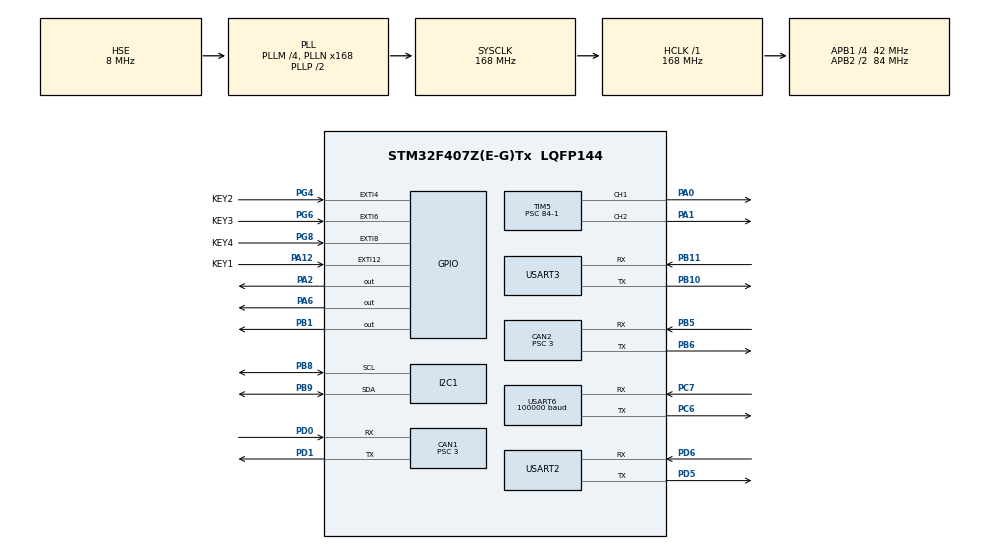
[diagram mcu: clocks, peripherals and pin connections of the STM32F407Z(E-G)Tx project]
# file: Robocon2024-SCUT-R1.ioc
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CAN1.BS1=CAN_BS1_9TQ
CAN1.BS2=CAN_BS2_4TQ
CAN1.CalculateBaudRate=1000000
CAN1.CalculateTimeBit=1000
CAN1.CalculateTimeQuantum=71.42857142857143
CAN1.Prescaler=3
CAN2.BS1=CAN_BS1_9TQ
CAN2.BS2=CAN_BS2_4TQ
CAN2.CalculateBaudRate=1000000
CAN2.CalculateTimeBit=1000
CAN2.CalculateTimeQuantum=71.42857142857143
CAN2.Prescaler=3
Dma.I2C1_RX.4.Direction=DMA_PERIPH_TO_MEMORY
Dma.I2C1_RX.4.FIFOMode=DMA_FIFOMODE_DISABLE
Dma.I2C1_RX.4.Instance=DMA1_Stream0
Dma.I2C1_RX.4.MemDataAlignment=DMA_MDATAALIGN_BYTE
Dma.I2C1_RX.4.MemInc=DMA_MINC_ENABLE
Dma.I2C1_RX.4.Mode=DMA_NORMAL
Dma.I2C1_RX.4.PeriphDataAlignment=DMA_PDATAALIGN_BYTE
Dma.I2C1_RX.4.PeriphInc=DMA_PINC_DISABLE
Dma.I2C1_RX.4.Priority=DMA_PRIORITY_LOW
Dma.I2C1_TX.5.Direction=DMA_MEMORY_TO_PERIPH
Dma.I2C1_TX.5.FIFOMode=DMA_FIFOMODE_DISABLE
Dma.I2C1_TX.5.Instance=DMA1_Stream7
Dma.I2C1_TX.5.MemDataAlignment=DMA_MDATAALIGN_BYTE
Dma.I2C1_TX.5.MemInc=DMA_MINC_ENABLE
Dma.I2C1_TX.5.Mode=DMA_NORMAL
Dma.I2C1_TX.5.PeriphDataAlignment=DMA_PDATAALIGN_BYTE
Dma.I2C1_TX.5.PeriphInc=DMA_PINC_DISABLE
Dma.I2C1_TX.5.Priority=DMA_PRIORITY_LOW
Dma.Request0=USART3_RX
Dma.Request1=USART3_TX
Dma.Request2=USART2_RX
Dma.Request3=USART2_TX
Dma.Request4=I2C1_RX
Dma.Request5=I2C1_TX
Dma.Request6=USART6_RX
Dma.Request7=USART6_TX
Dma.USART2_RX.2.Direction=DMA_PERIPH_TO_MEMORY
Dma.USART2_RX.2.FIFOMode=DMA_FIFOMODE_DISABLE
Dma.USART2_RX.2.Instance=DMA1_Stream5
Dma.USART2_RX.2.MemDataAlignment=DMA_MDATAALIGN_BYTE
Dma.USART2_RX.2.MemInc=DMA_MINC_ENABLE
Dma.USART2_RX.2.Mode=DMA_NORMAL
Dma.USART2_RX.2.PeriphDataAlignment=DMA_PDATAALIGN_BYTE
Dma.USART2_RX.2.PeriphInc=DMA_PINC_DISABLE
Dma.USART2_RX.2.Priority=DMA_PRIORITY_LOW
Dma.USART2_TX.3.Direction=DMA_MEMORY_TO_PERIPH
Dma.USART2_TX.3.FIFOMode=DMA_FIFOMODE_DISABLE
Dma.USART2_TX.3.Instance=DMA1_Stream6
Dma.USART2_TX.3.MemDataAlignment=DMA_MDATAALIGN_BYTE
Dma.USART2_TX.3.MemInc=DMA_MINC_ENABLE
Dma.USART2_TX.3.Mode=DMA_NORMAL
Dma.USART2_TX.3.PeriphDataAlignment=DMA_PDATAALIGN_BYTE
Dma.USART2_TX.3.PeriphInc=DMA_PINC_DISABLE
Dma.USART2_TX.3.Priority=DMA_PRIORITY_LOW
Dma.USART3_RX.0.Direction=DMA_PERIPH_TO_MEMORY
Dma.USART3_RX.0.FIFOMode=DMA_FIFOMODE_DISABLE
Dma.USART3_RX.0.Instance=DMA1_Stream1
Dma.USART3_RX.0.MemDataAlignment=DMA_MDATAALIGN_BYTE
Dma.USART3_RX.0.MemInc=DMA_MINC_ENABLE
Dma.USART3_RX.0.Mode=DMA_NORMAL
Dma.USART3_RX.0.PeriphDataAlignment=DMA_PDATAALIGN_BYTE
Dma.USART3_RX.0.PeriphInc=DMA_PINC_DISABLE
Dma.USART3_RX.0.Priority=DMA_PRIORITY_LOW
Dma.USART3_TX.1.Direction=DMA_MEMORY_TO_PERIPH
Dma.USART3_TX.1.FIFOMode=DMA_FIFOMODE_DISABLE
Dma.USART3_TX.1.Instance=DMA1_Stream3
Dma.USART3_TX.1.MemDataAlignment=DMA_MDATAALIGN_BYTE
Dma.USART3_TX.1.MemInc=DMA_MINC_ENABLE
Dma.USART3_TX.1.Mode=DMA_NORMAL
Dma.USART3_TX.1.PeriphDataAlignment=DMA_PDATAALIGN_BYTE
Dma.USART3_TX.1.PeriphInc=DMA_PINC_DISABLE
Dma.USART3_TX.1.Priority=DMA_PRIORITY_LOW
Dma.USART6_RX.6.Direction=DMA_PERIPH_TO_MEMORY
Dma.USART6_RX.6.FIFOMode=DMA_FIFOMODE_DISABLE
Dma.USART6_RX.6.Instance=DMA2_Stream1
Dma.USART6_RX.6.MemDataAlignment=DMA_MDATAALIGN_BYTE
Dma.USART6_RX.6.MemInc=DMA_MINC_ENABLE
Dma.USART6_RX.6.Mode=DMA_NORMAL
Dma.USART6_RX.6.PeriphDataAlignment=DMA_PDATAALIGN_BYTE
Dma.USART6_RX.6.PeriphInc=DMA_PINC_DISABLE
Dma.USART6_RX.6.Priority=DMA_PRIORITY_LOW
Dma.USART6_TX.7.Direction=DMA_MEMORY_TO_PERIPH
Dma.USART6_TX.7.FIFOMode=DMA_FIFOMODE_DISABLE
Dma.USART6_TX.7.Instance=DMA2_Stream6
Dma.USART6_TX.7.MemDataAlignment=DMA_MDATAALIGN_BYTE
Dma.USART6_TX.7.MemInc=DMA_MINC_ENABLE
Dma.USART6_TX.7.Mode=DMA_NORMAL
Dma.USART6_TX.7.PeriphDataAlignment=DMA_PDATAALIGN_BYTE
Dma.USART6_TX.7.PeriphInc=DMA_PINC_DISABLE
Dma.USART6_TX.7.Priority=DMA_PRIORITY_LOW
FREERTOS.Tasks01=chassisTask,24,128,StartChassisTask,Default,NULL,Dynamic,NULL,NULL;ballTask,8,128,StartBallTask,Default,NULL,Dynamic,NULL,NULL;clampTask,8,128,StartClampTask,Default,NULL,Dynamic,NULL,NULL;upperFeedbackTa,8,128,StartUpperFeedbackTask,Default,NULL,Dynamic,NULL,NULL;SBUSTask,8,128,StartSBUSTask,Default,NULL,Dynamic,NULL,NULL
I2C1.AddressingMode=I2C_ADDRESSINGMODE_10BIT
I2C1.DutyCycle=I2C_DUTYCYCLE_16_9
I2C1.I2C_Mode=I2C_Fast
IWDG.Prescaler=IWDG_PRESCALER_64
IWDG.Reload=625
Mcu.Family=STM32F4
Mcu.Name=STM32F407Z(E-G)Tx
Mcu.Package=LQFP144
NVIC.CAN1_RX0_IRQn=true\:5\:0\:true\:false\:true\:true\:true\:true\:true
NVIC.CAN1_TX_IRQn=true\:5\:0\:true\:false\:true\:true\:true\:true\:true
NVIC.CAN2_RX0_IRQn=true\:5\:0\:false\:false\:true\:true\:true\:true\:true
NVIC.CAN2_TX_IRQn=true\:5\:0\:false\:false\:true\:true\:true\:true\:true
NVIC.DMA1_Stream0_IRQn=true\:5\:0\:false\:false\:true\:true\:false\:true\:true
NVIC.DMA1_Stream1_IRQn=true\:5\:0\:false\:false\:true\:true\:false\:true\:true
NVIC.DMA1_Stream3_IRQn=true\:5\:0\:false\:false\:true\:true\:false\:true\:true
NVIC.DMA1_Stream5_IRQn=true\:5\:0\:false\:false\:true\:true\:false\:true\:true
NVIC.DMA1_Stream6_IRQn=true\:5\:0\:false\:false\:true\:true\:false\:true\:true
NVIC.DMA1_Stream7_IRQn=true\:5\:0\:false\:false\:true\:true\:false\:true\:true
NVIC.DMA2_Stream1_IRQn=true\:5\:0\:false\:false\:true\:true\:false\:true\:true
NVIC.DMA2_Stream6_IRQn=true\:5\:0\:false\:false\:true\:true\:false\:true\:true
NVIC.EXTI15_10_IRQn=true\:9\:0\:true\:false\:true\:true\:true\:true\:true
NVIC.EXTI4_IRQn=true\:9\:0\:true\:false\:true\:true\:true\:true\:true
NVIC.EXTI9_5_IRQn=true\:9\:0\:true\:false\:true\:true\:true\:true\:true
NVIC.I2C1_ER_IRQn=true\:5\:0\:false\:false\:true\:true\:true\:true\:true
NVIC.I2C1_EV_IRQn=true\:5\:0\:false\:false\:true\:true\:true\:true\:true
NVIC.PriorityGroup=NVIC_PRIORITYGROUP_4
NVIC.TIM1_UP_TIM10_IRQn=true\:5\:0\:true\:false\:true\:true\:true\:true\:true
NVIC.TIM4_IRQn=true\:15\:0\:false\:false\:true\:false\:false\:true\:true
NVIC.TimeBase=TIM4_IRQn
NVIC.TimeBaseIP=TIM4
NVIC.USART2_IRQn=true\:5\:0\:true\:false\:true\:true\:true\:true\:true
NVIC.USART3_IRQn=true\:5\:0\:false\:false\:true\:true\:true\:true\:true
NVIC.USART6_IRQn=true\:6\:0\:true\:false\:true\:true\:true\:true\:true
PA0-WKUP.Signal=S_TIM5_CH1
PA1.Signal=S_TIM5_CH2
PA12.GPIO_Label=KEY1
PA12.GPIO_ModeDefaultEXTI=GPIO_MODE_IT_FALLING
PA12.GPIO_PuPd=GPIO_PULLUP
PA12.Signal=GPXTI12
PA13.Mode=Serial_Wire
PA13.Signal=SYS_JTMS-SWDIO
PA14.Mode=Serial_Wire
PA14.Signal=SYS_JTCK-SWCLK
PA2.GPIO_PuPd=GPIO_PULLDOWN
PA2.Signal=GPIO_Output
PA6.GPIO_PuPd=GPIO_PULLDOWN
PA6.Signal=GPIO_Output
PB1.GPIO_PuPd=GPIO_PULLDOWN
PB1.Signal=GPIO_Output
PB10.Mode=Asynchronous
PB10.Signal=USART3_TX
PB11.Mode=Asynchronous
PB11.Signal=USART3_RX
PB5.Mode=CAN_Activate
PB5.Signal=CAN2_RX
PB6.Mode=CAN_Activate
PB6.Signal=CAN2_TX
PB8.Mode=I2C
PB8.Signal=I2C1_SCL
PB9.Mode=I2C
PB9.Signal=I2C1_SDA
PC6.Mode=Asynchronous
PC6.Signal=USART6_TX
PC7.Mode=Asynchronous
PC7.Signal=USART6_RX
PD0.Mode=CAN_Activate
PD0.Signal=CAN1_RX
PD1.Mode=CAN_Activate
PD1.Signal=CAN1_TX
PD5.Mode=Asynchronous
PD5.Signal=USART2_TX
PD6.Mode=Asynchronous
PD6.Signal=USART2_RX
PG4.GPIO_Label=KEY2
PG4.GPIO_ModeDefaultEXTI=GPIO_MODE_IT_FALLING
PG4.GPIO_PuPd=GPIO_PULLUP
PG4.Signal=GPXTI4
PG6.GPIO_Label=KEY3
PG6.GPIO_ModeDefaultEXTI=GPIO_MODE_IT_FALLING
PG6.GPIO_PuPd=GPIO_PULLUP
PG6.Signal=GPXTI6
PG8.GPIO_Label=KEY4
PG8.GPIO_ModeDefaultEXTI=GPIO_MODE_IT_FALLING
PG8.GPIO_PuPd=GPIO_PULLUP
PG8.Signal=GPXTI8
PH0-OSC_IN.Mode=HSE-External-Oscillator
PH0-OSC_IN.Signal=RCC_OSC_IN
PH1-OSC_OUT.Mode=HSE-External-Oscillator
PH1-OSC_OUT.Signal=RCC_OSC_OUT
ProjectManager.HeapSize=0x200
ProjectManager.StackSize=0x400
ProjectManager.TargetToolchain=MDK-ARM V5.32
RCC.48MHZClocksFreq_Value=84000000
RCC.AHBFreq_Value=168000000
RCC.APB1CLKDivider=RCC_HCLK_DIV4
RCC.APB1Freq_Value=42000000
RCC.APB1TimFreq_Value=84000000
RCC.APB2CLKDivider=RCC_HCLK_DIV2
RCC.APB2Freq_Value=84000000
RCC.APB2TimFreq_Value=168000000
RCC.CortexFreq_Value=168000000
RCC.HCLKFreq_Value=168000000
RCC.HSE_VALUE=8000000
RCC.HSI_VALUE=16000000
RCC.LSE_VALUE=32768
RCC.PLLM=4
RCC.PLLN=168
RCC.PLLSourceVirtual=RCC_PLLSOURCE_HSE
RCC.SYSCLKFreq_VALUE=168000000
RCC.SYSCLKSource=RCC_SYSCLKSOURCE_PLLCLK
RCC.VCOOutputFreq_Value=336000000
SH.S_TIM5_CH1.0=TIM5_CH1,PWM Generation1 CH1
SH.S_TIM5_CH2.0=TIM5_CH2,PWM Generation2 CH2
STMicroelectronics.X-CUBE-ALGOBUILD.1.3.0.LibraryCcDSPOoLibraryJjDSPOoLibrary=true
TIM10.AutoReloadPreload=TIM_AUTORELOAD_PRELOAD_ENABLE
TIM10.Period=1000-1
TIM10.Prescaler=168-1
TIM5.Channel-PWM\ Generation1\ CH1=TIM_CHANNEL_1
TIM5.Channel-PWM\ Generation2\ CH2=TIM_CHANNEL_2
TIM5.Period=20000-1
TIM5.Prescaler=84-1
TIM5.Pulse-PWM\ Generation1\ CH1=20000-1833
TIM5.Pulse-PWM\ Generation2\ CH2=20000-789
USART2.Parity=PARITY_ODD
USART2.VirtualMode=VM_ASYNC
USART2.WordLength=WORDLENGTH_9B
USART3.VirtualMode=VM_ASYNC
USART6.BaudRate=100000
USART6.Parity=PARITY_EVEN
USART6.StopBits=STOPBITS_2
USART6.VirtualMode=VM_ASYNC
VP_FREERTOS_VS_CMSIS_V2.Mode=CMSIS_V2
VP_IWDG_VS_IWDG.Mode=IWDG_Activate
VP_STMicroelectronics.X-CUBE-ALGOBUILD_VS_DSPOoLibraryJjLibrary_1.3.0_1.3.0.Mode=DSPOoLibraryJjLibrary
VP_SYS_VS_tim4.Mode=TIM4
VP_TIM10_VS_ClockSourceINT.Mode=Enable_Timer
board=custom

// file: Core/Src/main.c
/* USER CODE BEGIN Header */
/**
 ******************************************************************************
 * @file           : main.c
 * @brief          : Main program body
 ******************************************************************************
 * @attention
 *
 * Copyright (c) 2023 STMicroelectronics.
 * All rights reserved.
 *
 * This software is licensed under terms that can be found in the LICENSE file
 * in the root directory of this software component.
 * If no LICENSE file comes with this software, it is provided AS-IS.
 *
 ******************************************************************************
 */
/* USER CODE END Header */
#include "main.h"
#include "cmsis_os.h"
#include "can.h"
#include "dma.h"
#include "i2c.h"
#include "iwdg.h"
#include "tim.h"
#include "usart.h"
#include "gpio.h"

/* USER CODE BEGIN Includes */

#include "PID_MODEL.h"
#include "arm_math.h"
#include "bsp_can.h"
#include "motorctrl.h"
#include "stdio.h"
#include "calculate.h"
#include "math.h"
#include "delay.h"
#include "solve.h"
#include "new_logic.h"
#include "sbus.h"

/* USER CODE END Includes */

/* USER CODE BEGIN PTD */

typedef struct __FILE FILE;
/* USER CODE END PTD */

/* USER CODE BEGIN PD */
#define USART_REC_LEN 100 //
#define RXBUFFERSIZE 1    //

uint8_t USART2_RX_BUF[USART_REC_LEN];
uint16_t USART2_RX_STA = 0;
uint8_t aRxBuffer2[RXBUFFERSIZE];

uint8_t USART6_RX_BUF[USART_REC_LEN];
uint16_t USART6_RX_STA = 0;
uint8_t aRxBuffer6[RXBUFFERSIZE];

int receivefactor[2];
int factor[2] = {0};
int factor1[2] = {0};

claw_enum next_state = IDLE_CLAW;
claw_enum current_state = IDLE_CLAW;
place_enum next_place = IDLE_PLACE;
bool_T HIGH_TROQUE_TRANS_FLAG = off;

double theta[4];
bool_T claw_flag = off;
claw_enum claw_state = IDLE_CLAW;

DataPacket DataRe;
int16_t lx, ly, rx, ry, lp, rp;
uint8_t B1, B2;
uint8_t Cal_Parity;
uint8_t B1_count[8] = {0, 0, 0, 0, 0, 0, 0, 0};

uint8_t USART_FLAG = 0;

extern int can_output[8];
extern uint8_t data[10];
double TEST_ANG[2] = {0, 0};

extern REAL_COOR RC;
/* USER CODE END PD */

void SystemClock_Config(void);
void MX_FREERTOS_Init(void);

int main(void)
{

  /* MCU Configuration--------------------------------------------------------*/

  /* Reset of all peripherals, Initializes the Flash interface and the Systick. */
  HAL_Init();

  /* Configure the system clock */
  SystemClock_Config();

  /* Initialize all configured peripherals */
  MX_GPIO_Init();
  MX_DMA_Init();
  MX_CAN1_Init();
  MX_TIM10_Init();
  MX_USART3_UART_Init();
  MX_IWDG_Init();
  MX_CAN2_Init();
  MX_USART2_UART_Init();
  MX_TIM5_Init();
  MX_I2C1_Init();
  MX_USART6_UART_Init();
  /* USER CODE BEGIN 2 */
  // Controler Receive Init
  HAL_UART_Receive_DMA(&huart3, (uint8_t *)&DataRe, 1);
  HAL_UART_Receive_DMA(&huart2, aRxBuffer2, 1);
  HAL_UART_Receive_DMA(&huart6, aRxBuffer6, 1);

  // MATLAB Init
  PID_MODEL_initialize();
  HAL_TIM_Base_Start_IT(&htim10);

  // CAN Init
  can_filter_init();
  HAL_CAN_Start(&hcan1);
  HAL_CAN_ActivateNotification(&hcan1, CAN_IT_RX_FIFO0_MSG_PENDING);
  HAL_CAN_Start(&hcan2);
  HAL_CAN_ActivateNotification(&hcan2, CAN_IT_RX_FIFO0_MSG_PENDING);

  // Chassis PID Init
  PID_Speed_Para_Init(1, 1, 10, 3, 0.01);
  PID_Speed_Para_Init(1, 2, 10, 3, 0.01);
  PID_Speed_Para_Init(1, 3, 10, 3, 0.01);
  PID_Speed_Para_Init(1, 4, 10, 3, 0.01);

  PID_Angle_S_Para_Init(1, 1, 1.5, 0.3, 0.01);
  PID_Angle_A_Para_Init(1, 1, 0.5, 0.1, 0.01);
  PID_Angle_S_Para_Init(1, 2, 1.5, 0.3, 0.01);
  PID_Angle_A_Para_Init(1, 2, 0.5, 0.1, 0.01);
  PID_Angle_S_Para_Init(1, 3, 1.5, 0.3, 0.01);
  PID_Angle_A_Para_Init(1, 3, 0.5, 0.1, 0.01);
  PID_Angle_S_Para_Init(1, 4, 1.5, 0.3, 0.01);
  PID_Angle_A_Para_Init(1, 4, 0.5, 0.1, 0.01);

  // Ball TIM Init
  HAL_TIM_PWM_Start(&htim5, TIM_CHANNEL_1);
  HAL_TIM_PWM_Start(&htim5, TIM_CHANNEL_2);

  // Ball PID Init
  PID_Speed_Para_Init(1, 5, 2, 0.7, 0.1);
  PID_Speed_Para_Init(1, 6, 2, 2.7, 0.1);
  PID_Speed_Para_Init(1, 7, 2, 2.7, 0.1);

  // Clamp PID Init
  PID_Angle_S_Para_Init(2, 3, 0.6901 * 0.75, 2.3727 * 0.17, 0.01);
  PID_Angle_A_Para_Init(2, 3, 0.83005 * 0.85, 0.38548 * 0.02, 0.04);

  PID_Angle_S_Para_Init(2, 4, 0.6901 * 0.75, 2.3727 * 0.17, 0.01);
  PID_Angle_A_Para_Init(2, 4, 0.83005 * 0.85, 0.38548 * 0.02, 0.04);

  // rtP.TRANS_CH2_3 = 0.7;
  // rtP.TRANS_CH2_4 = 0.7;
  rtP.TRANS_CH2_3 = 0.6;
  rtP.TRANS_CH2_4 = 0.6;

  rtP.DEADBAND_CH2_3 = 800;
  rtP.DEADBAND_CH2_4 = 800;

  HAL_Delay(500);
  YAW_TGT[M_3508_R] = 0;
  YAW_TGT[M_3508_L] = 0;
  motorExtent.state = 0xab;
  STR_OFF;

  /* USER CODE END 2 */

  /* Init scheduler */
  osKernelInitialize();

  /* Call init function for freertos objects (in cmsis_os2.c) */
  MX_FREERTOS_Init();

  /* Start scheduler */
  osKernelStart();

  /* We should never get here as control is now taken by the scheduler */

  /* Infinite loop */
  while (1)
  {

  }
}

void SystemClock_Config(void)
{
  RCC_OscInitTypeDef RCC_OscInitStruct = {0};
  RCC_ClkInitTypeDef RCC_ClkInitStruct = {0};

  /** Configure the main internal regulator output voltage
   */
  __HAL_RCC_PWR_CLK_ENABLE();
  __HAL_PWR_VOLTAGESCALING_CONFIG(PWR_REGULATOR_VOLTAGE_SCALE1);

  /** Initializes the RCC Oscillators according to the specified parameters
   * in the RCC_OscInitTypeDef structure.
   */
  RCC_OscInitStruct.OscillatorType = RCC_OSCILLATORTYPE_LSI | RCC_OSCILLATORTYPE_HSE;
  RCC_OscInitStruct.HSEState = RCC_HSE_ON;
  RCC_OscInitStruct.LSIState = RCC_LSI_ON;
  RCC_OscInitStruct.PLL.PLLState = RCC_PLL_ON;
  RCC_OscInitStruct.PLL.PLLSource = RCC_PLLSOURCE_HSE;
  RCC_OscInitStruct.PLL.PLLM = 4;
  RCC_OscInitStruct.PLL.PLLN = 168;
  RCC_OscInitStruct.PLL.PLLP = RCC_PLLP_DIV2;
  RCC_OscInitStruct.PLL.PLLQ = 4;
  if (HAL_RCC_OscConfig(&RCC_OscInitStruct) != HAL_OK)
  {
    Error_Handler();
  }

  /** Initializes the CPU, AHB and APB buses clocks
   */
  RCC_ClkInitStruct.ClockType = RCC_CLOCKTYPE_HCLK | RCC_CLOCKTYPE_SYSCLK | RCC_CLOCKTYPE_PCLK1 | RCC_CLOCKTYPE_PCLK2;
  RCC_ClkInitStruct.SYSCLKSource = RCC_SYSCLKSOURCE_PLLCLK;
  RCC_ClkInitStruct.AHBCLKDivider = RCC_SYSCLK_DIV1;
  RCC_ClkInitStruct.APB1CLKDivider = RCC_HCLK_DIV4;
  RCC_ClkInitStruct.APB2CLKDivider = RCC_HCLK_DIV2;

  if (HAL_RCC_ClockConfig(&RCC_ClkInitStruct, FLASH_LATENCY_5) != HAL_OK)
  {
    Error_Handler();
  }
}

/* USER CODE BEGIN 4 */

void HAL_UART_RxCpltCallback(UART_HandleTypeDef *huart)
{
  if (huart->Instance == USART3)
  {
    if (DataRe.header == 0xAA && USART_FLAG == 0)
    {
      receivefactor[0] = 1;
      CAL_MESSAGE();
      HAL_UART_Receive_DMA(&huart3, (uint8_t *)&DataRe + 1, sizeof(DataPacket) - 1);
      USART_FLAG = 1;
    }
    if (DataRe.header == 0xAA && USART_FLAG == 1)
    {
      receivefactor[0] = 1;
      CAL_MESSAGE();
      HAL_UART_Receive_DMA(&huart3, (uint8_t *)&DataRe, sizeof(DataPacket));
    }
    else
    {
      HAL_UART_Receive_DMA(&huart3, (uint8_t *)&DataRe, 1);
      USART_FLAG = 0;
    }
  }

  while (huart->Instance == USART2)
  {
    USART2_RX_BUF[USART2_RX_STA] = aRxBuffer2[0];
    if (USART2_RX_STA == 0 && USART2_RX_BUF[USART2_RX_STA] != 0x0F)
    {
      HAL_UART_Receive_DMA(&huart2, aRxBuffer2, 1);
      break;
    }
    USART2_RX_STA++;
    HAL_UART_Receive_DMA(&huart2, aRxBuffer2, 1);
    if (USART2_RX_STA > USART_REC_LEN)
      USART2_RX_STA = 0;                                                              //
    if (USART2_RX_BUF[0] == 0x0F && USART2_RX_BUF[15] == 0xAA && USART2_RX_STA == 16) // �??????????测包头包尾以及数据包长度
    {
      Receive();
      receivefactor[1] = 1;

      USART2_RX_STA = 0;
    }
    else if (!(USART2_RX_BUF[0] == 0x0F && USART2_RX_BUF[15] == 0xAA) && USART2_RX_STA == 16)
    {
      for (int i = 0; i < 16; i++)
        USART2_RX_BUF[i] = 0; // 清除数据
      USART2_RX_STA = 0;
    }

    break;
  }

  while (huart->Instance == USART6)
  {
    USART6_RX_BUF[USART6_RX_STA] = aRxBuffer6[0];
    if (USART6_RX_STA == 0 && USART6_RX_BUF[USART6_RX_STA] != 0x0F)
    {
      HAL_UART_Receive_DMA(&huart6, aRxBuffer6, 1);
      break; //
    }
    USART6_RX_STA++;
    HAL_UART_Receive_DMA(&huart6, aRxBuffer6, 1);
    if (USART6_RX_STA > USART_REC_LEN)
      USART6_RX_STA = 0;
    if (USART6_RX_BUF[0] == 0x0F && USART6_RX_BUF[24] == 0x00 && USART6_RX_STA == 25)
    {
      update_sbus(USART6_RX_BUF);
      for (int i = 0; i < 25; i++)
      {
        USART6_RX_BUF[i] = 0;
      }
      USART6_RX_STA = 0;
    }
    else if (!(USART6_RX_BUF[0] == 0x0F && USART6_RX_BUF[24] == 0x00) && USART6_RX_STA == 25)
    {
      for (int i = 0; i < 25; i++)
        USART6_RX_BUF[i] = 0; // 清除数据
      USART6_RX_STA = 0;
    }

    break;
  }
}

// 错误回调
void HAL_UART_ErrorCallback(UART_HandleTypeDef *huart)
{
  if (huart->Instance == USART3)
  {
    HAL_UART_Receive_DMA(&huart3, (uint8_t *)&DataRe, 1);
    USART_FLAG = 0;
  }
  if (huart->Instance == USART2)
  {
    HAL_UART_Receive_DMA(&huart2, aRxBuffer2, 1);
  }
}

/* USER CODE END 4 */

void HAL_TIM_PeriodElapsedCallback(TIM_HandleTypeDef *htim)
{
  if (htim->Instance == TIM4)
  {
    HAL_IncTick();
  }
  /* USER CODE BEGIN Callback 1 */
  if (htim == &htim10)
  {

    if (HIGH_TROQUE_TRANS_FLAG)
    {
      if (HAL_I2C_Master_Transmit_DMA(&hi2c1, (uint16_t)I2C_SLAVE_ADDRESS, (uint8_t *)&motorExtent, sizeof(motorExtent)) != HAL_OK)
      {
        /* Error_Handler() function is called when Timeout error occurs.
          When Acknowledge failure occurs (Slave don't acknowledge it's address)
          Master restarts communication */
        if (HAL_I2C_GetError(&hi2c1) != HAL_I2C_ERROR_AF)
        {
          Error_Handler();
        }
      }
      else
      {
        HIGH_TROQUE_TRANS_FLAG = off;
      }
    }

    if (claw_flag)
    {
      switch (claw_state)
      {
      case state_claw_catch:
        CLAW_CH1_CH3_ON;
        CLAW_CH2_CH4_ON;
        break;
      case state_claw_place:
        switch (next_place)
        {
        case FST_PLACE:
            CLAW_CH1_CH3_OFF;
          next_place = SEC_PLACE;
          break;
        case SEC_PLACE:
            CLAW_CH2_CH4_OFF;
          next_place = IDLE_PLACE;
          break;
        default:
          break;
        }
        break;
      case state_init:
        STR_ON;
        CLAW_CH1_CH3_OFF;
        CLAW_CH2_CH4_OFF;
        break;
      case state_close:
        STR_OFF;
        CLAW_CH1_CH3_ON;
        CLAW_CH2_CH4_ON;
        break;
      default:
        break;
      }
      claw_state = IDLE_CLAW;
      claw_flag = off;
    }
    /* Host Machine Serial Trans */
    // HAL_UART_Transmit_DMA(&huart2, data, 10);

    /* CLAMP FUCTION */
    /* Right Claw 3508 */
    ANG_TGT[M_3508_R] = YAW_TGT[M_3508_R] * 3591 * 8191 / (187 * 360);
    rtU.yaw_target_CH2_3 = ANG_TGT[M_3508_R];

    /* Left Claw 3508 */

    ANG_TGT[M_3508_L] = YAW_TGT[M_3508_L] * 3591 * 8191 / (187 * 360);
    rtU.yaw_target_CH2_4 = ANG_TGT[M_3508_L];

    // Model airplane remote control test
    // LY = SBUS_CH.CH2 - MR_CH2;
    // RX = SBUS_CH.CH1 - MR_CH1;
    // LX = SBUS_CH.CH4 - ML_CH4;

    assign_output();
    PID_MODEL_step();
    motor_state_update();
    motor_state_update1();
  }
  /* USER CODE END Callback 1 */
}

void Error_Handler(void)
{
  __disable_irq();
  while (1)
  {
  }
}

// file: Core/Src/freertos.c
/* USER CODE BEGIN Header */
/**
 ******************************************************************************
 * File Name          : freertos.c
 * Description        : Code for freertos applications
 ******************************************************************************
 * @attention
 *
 * Copyright (c) 2024 STMicroelectronics.
 * All rights reserved.
 *
 * This software is licensed under terms that can be found in the LICENSE file
 * in the root directory of this software component.
 * If no LICENSE file comes with this software, it is provided AS-IS.
 *
 ******************************************************************************
 */
/* USER CODE END Header */

#include "FreeRTOS.h"
#include "task.h"
#include "main.h"
#include "cmsis_os.h"

/* USER CODE BEGIN Includes */
#include "PID_MODEL.h"
#include "arm_math.h"
#include "bsp_can.h"
#include "motorctrl.h"
#include "stdio.h"
#include "calculate.h"
#include "math.h"
#include "delay.h"
#include "solve.h"
#include "new_logic.h"
#include "sbus.h"

/* USER CODE END Includes */

/* USER CODE BEGIN PTD */
#define VEL 1
#define ANG 2

/**
 * @brief motor definition
 * motor_data[0] - motor_data[3]: chassis motors
 * motor_data[4]: ball shooter motor
 * motor_data[5]: ball right motor
 * motor_data[6]: ball left motor
 * motor_data[7]: ball lift motor
 */

extern motor_measure_t *motor_data[8];
extern motor_measure_t *motor_data1[8];
/* USER CODE END PTD */

/* USER CODE BEGIN PD */

extern int receivefactor[4];
extern int factor[2];
extern int factor1[2];

extern DataPacket DataRe;
extern int16_t lx, ly, rx, ry, lp, rp;
extern uint8_t B1, B2;
extern uint8_t Cal_Parity;

extern uint8_t BUTTON_State;
extern int MAXVAL;

/* Chassis Velocity Variables */
extern double output[16];
double Vx, Vy, omega = 0;
double V_Sum = 0;
double V_Sum_Last = 0;

/* Manual Control Temp Variables */

double Controller_Deadband = 300;

/* R1 Ball Definition */
double SHOOT_UP_TGT = 0;
double SHOOT_DOWN_TGT = 0;
double SHOOT_R_TGT = 0;
double SHOOT_L_TGT = 0;
double LIFT_TGT = 0;

int16_t shoot_up_out = 0;
int16_t shoot_r_out = 0;
int16_t shoot_l_out = 0;
int16_t lift_out = 0;
TGT_COOR TC;
REAL_COOR RC;
const int M3508_MAX = 8911;
const int M2006_MAX = 14976;

const int ROLL_init = 120, GIVE_init = 22;
int ROLL_ANG = ROLL_init, GIVE_ANG = GIVE_init;
int ROLL_state = 0, GIVE_state = 0;

/* R1 Clamp Definition */
float YAW_TGT[8] = {0};
float M_3508_YAW_TGT = 0;
float SPD_TGT[8] = {0}; //{-500,500}
float ANG_TGT[8] = {0};
float current_ang = 0;
int can_output[8] = {0};
uint8_t FLAG = 0;

float current_target[8] = {0};
float target_error[8] = {0};
float test_target = 0;

uint16_t HT_moto_yaw = 0;

bool_T LOGIC_FLAG = off;
uint8_t logic_state = 0;
uint8_t I2C_TRANS_FLAG = 0;
uint8_t M_3508_TRANS_FLAG = 0;

uint8_t GPIO_CHANGE_STATE_1;
uint8_t GPIO_CHANGE_STATE_2;
uint8_t GPIO_CHANGE_FLAG = 0;
MotorExtentTypeDef motorExtent = {
    .state = 0xab,
};

/* Upper Feedback UART */
int buff_len;
char TransmitBuffer[100];

/* USER CODE END PD */

/* Definitions for chassisTask */
osThreadId_t chassisTaskHandle;
const osThreadAttr_t chassisTask_attributes = {
    .name = "chassisTask",
    .stack_size = 128 * 4,
    .priority = (osPriority_t)osPriorityNormal,
};
/* Definitions for ballTask */
osThreadId_t ballTaskHandle;
const osThreadAttr_t ballTask_attributes = {
    .name = "ballTask",
    .stack_size = 128 * 4,
    .priority = (osPriority_t)osPriorityLow,
};
/* Definitions for clampTask */
osThreadId_t clampTaskHandle;
const osThreadAttr_t clampTask_attributes = {
    .name = "clampTask",
    .stack_size = 128 * 4,
    .priority = (osPriority_t)osPriorityLow,
};
/* Definitions for upperFeedbackTa */
osThreadId_t upperFeedbackTaHandle;
const osThreadAttr_t upperFeedbackTa_attributes = {
    .name = "upperFeedbackTa",
    .stack_size = 128 * 4,
    .priority = (osPriority_t)osPriorityLow,
};
/* Definitions for SBUSTask */
osThreadId_t SBUSTaskHandle;
const osThreadAttr_t SBUSTask_attributes = {
    .name = "SBUSTask",
    .stack_size = 128 * 4,
    .priority = (osPriority_t)osPriorityLow,
};

/* USER CODE BEGIN FunctionPrototypes */
void Set_servo(TIM_HandleTypeDef *htim, uint32_t Channel, uint8_t angle, uint32_t countPeriod, uint32_t CycleTime)
{
  uint16_t compare_value = 0;
  if (angle <= 180)
  {
    compare_value = 20000 - (0.5 * countPeriod / CycleTime + angle * countPeriod / CycleTime / 90); // 20000-(500+angle*11.11�????)
    __HAL_TIM_SET_COMPARE(htim, Channel, compare_value);
  }
}

void BALL_On(void)
{
  ROLL_ANG = 0;
  GIVE_ANG = 22;
  Set_servo(&htim5, TIM_CHANNEL_1, ROLL_ANG, 20000, 20);
  Set_servo(&htim5, TIM_CHANNEL_2, GIVE_ANG, 20000, 20);
  SHOOT_UP_TGT = 0;
  SHOOT_DOWN_TGT = 5000;
  LIFT_TGT = -16300;
}

void BALL_Step(void)
{
  ROLL_ANG = 120;
  Set_servo(&htim5, TIM_CHANNEL_1, ROLL_ANG, 20000, 20);
  HAL_Delay(3000);

  GIVE_ANG = 50;
  Set_servo(&htim5, TIM_CHANNEL_2, GIVE_ANG, 20000, 20);
  HAL_Delay(1000);

  // BALL_On();
}

void BALL_Stop(void)
{
  SHOOT_UP_TGT = 0;
  SHOOT_DOWN_TGT = 0;
  SHOOT_R_TGT = 0;
  SHOOT_L_TGT = 0;
  LIFT_TGT = 0;
  ROLL_ANG = ROLL_init;
  GIVE_ANG = GIVE_init;

  // output[CH2_5] = 0;
  // output[CH1_6] = 0;
  // output[CH1_7] = 0;
  CAN1_cmd_chassis(output[CH1_1], output[CH1_2], output[CH1_3], output[CH1_4], output[CH1_5], output[CH1_6], output[CH1_7], 0);
  Set_servo(&htim5, TIM_CHANNEL_1, ROLL_init, 20000, 20);
  Set_servo(&htim5, TIM_CHANNEL_2, GIVE_init, 20000, 20);
}

void BALL_Reverse()
{
  ROLL_ANG = 0;
  GIVE_ANG = 22;
  Set_servo(&htim5, TIM_CHANNEL_1, ROLL_ANG, 20000, 20);
  Set_servo(&htim5, TIM_CHANNEL_2, GIVE_ANG, 20000, 20);
  SHOOT_UP_TGT = 0;
  SHOOT_DOWN_TGT = 5000;
  LIFT_TGT = 6300;
}

/* USER CODE END FunctionPrototypes */

void StartChassisTask(void *argument);
void StartBallTask(void *argument);
void StartClampTask(void *argument);
void StartUpperFeedbackTask(void *argument);
void StartSBUSTask(void *argument);

void MX_FREERTOS_Init(void); /* (MISRA C 2004 rule 8.1) */

void MX_FREERTOS_Init(void)
{

  /* Create the thread(s) */
  /* creation of chassisTask */
  chassisTaskHandle = osThreadNew(StartChassisTask, NULL, &chassisTask_attributes);

  /* creation of ballTask */
  ballTaskHandle = osThreadNew(StartBallTask, NULL, &ballTask_attributes);

  /* creation of clampTask */
  clampTaskHandle = osThreadNew(StartClampTask, NULL, &clampTask_attributes);

  /* creation of upperFeedbackTa */
  upperFeedbackTaHandle = osThreadNew(StartUpperFeedbackTask, NULL, &upperFeedbackTa_attributes);

  /* creation of SBUSTask */
  SBUSTaskHandle = osThreadNew(StartSBUSTask, NULL, &SBUSTask_attributes);

}

void StartChassisTask(void *argument)
{
  /* USER CODE BEGIN StartChassisTask */
  /* Infinite loop */
  for (;;)
  {
    CAL_TXMESSAGE();
    // Model controller
    if (SBUS_CH.ConnectState == 0)
    {
      SBUS_LY = 0;
      SBUS_RX = 0;
      SBUS_LX = 0;
    }
    else if (SBUS_CH.ConnectState == 1)
    {
      if (SBUS_SWA_State == SWITCH_DOWN)
      {
        MAXVAL = 4000;
        SBUS_LX = 6 * (SBUS_CH.CH4 - ML_CH4);
        SBUS_LY = 6 * (SBUS_CH.CH2 - MR_CH2);
        SBUS_RX = 4 * (SBUS_CH.CH1 - MR_CH1);
      }
      else if (SBUS_SWA_State == SWITCH_UP)
      {
        MAXVAL = 8000;
        SBUS_LX = 10 * (SBUS_CH.CH4 - ML_CH4);
        SBUS_LY = 10 * (SBUS_CH.CH2 - MR_CH2);
        SBUS_RX = 6 * (SBUS_CH.CH1 - MR_CH1);
      }
    }

    Vx = SBUS_LX;
    Vy = SBUS_LY;
    omega = SBUS_RX;

    if (Vx > Controller_Deadband)
    {
      Vx -= Controller_Deadband;
    }
    else if (Vx < -Controller_Deadband)
    {
      Vx += Controller_Deadband;
    }
    else
    {
      Vx = 0;
    }

    if (Vy > Controller_Deadband)
    {
      Vy -= Controller_Deadband;
    }
    else if (Vy < -Controller_Deadband)
    {
      Vy += Controller_Deadband;
    }
    else
    {
      Vy = 0;
    }

    if (omega > Controller_Deadband)
    {
      omega -= Controller_Deadband;
    }
    else if (omega < -Controller_Deadband)
    {
      omega += Controller_Deadband;
    }
    else
    {
      omega = 0;
    }

    if (fabs(SBUS_CH.CH1 - MR_CH1) < 50)
    {
      omega = 0;
    }

    /* Soft Speed UP */
    // V_Sum = sqrt(Vx * Vx + Vy * Vy);
    // if (V_Sum > 3000)
    // {
    //   if (fabs(V_Sum - V_Sum_Last) > 2)
    //   {
    //     V_Sum = V_Sum_Last + 2;
    //   }
    // }
    // Vx = V_Sum * cos(atan2(Vy, Vx));
    // Vy = V_Sum * sin(atan2(Vy, Vx));

    // V_Sum_Last = V_Sum;

    HAL_IWDG_Refresh(&hiwdg);

    get_msgn();

    set_mode(VEL, VEL, VEL, VEL, VEL, VEL, VEL,
             ANG, ANG, ANG, ANG, VEL, VEL, VEL);

    ctrlmotor(Vx, Vy, omega);
    osDelay(1);
  }

  /* USER CODE END StartChassisTask */
}

void StartBallTask(void *argument)
{
  /* USER CODE BEGIN StartBallTask */
  /* Infinite loop */
  for (;;)
  {
    rtU.yaw_target_CH1_5 = LIFT_TGT;
    rtU.yaw_target_CH1_6 = -SHOOT_DOWN_TGT;
    rtU.yaw_target_CH1_7 = SHOOT_DOWN_TGT;

    if (SBUS_SWD_State == SWITCH_DOWN && SBUS_CH.CH6 > 360)
    {
      switch (SBUS_SWB_State)
      {
      case SWITCH_UP:
        // R1 Ball ON
        BALL_On();
        break;

      case SWITCH_DOWN:
        // R1 Ball Reverse
        BALL_Reverse();
        break;

      default:
        break;
      }
    }
    else if (SBUS_SWD_State == SWITCH_DOWN && SBUS_CH.CH6 < 360)
    {
      // R1 Ball Stop
      BALL_Stop();
    }

    if (SBUS_SWD_State == SWITCH_DOWN)
    {
      switch (SBUS_SWC_State)
      {
      case SWITCH_UP:
        GIVE_ANG = GIVE_init;
        ROLL_ANG = 0;
        break;
      case SWITCH_MID:
        GIVE_ANG = GIVE_init;
        ROLL_ANG = ROLL_init;
        break;
      case SWITCH_DOWN:
        GIVE_ANG = 50;
        ROLL_ANG = ROLL_init;
        break;

      default:
        break;
      }
    }
    Set_servo(&htim5, TIM_CHANNEL_1, ROLL_ANG, 20000, 20);
    Set_servo(&htim5, TIM_CHANNEL_2, GIVE_ANG, 20000, 20);

    osDelay(1);
  }
  /* USER CODE END StartBallTask */
}

void StartClampTask(void *argument)
{
  /* USER CODE BEGIN StartClampTask */
  /* Infinite loop */
  for (;;)
  {

    LOGIC();

    vTaskDelay(100);

    osDelay(1);
  }
  /* USER CODE END StartClampTask */
}

void StartUpperFeedbackTask(void *argument)
{
  /* USER CODE BEGIN StartUpperFeedbackTask */
  /* Infinite loop */
  for (;;)
  {
    if (SWITCH_RB_State == SWITCH_DOWN)
    {
      __disable_irq();
      NVIC_SystemReset();
    }
    buff_len = sprintf(TransmitBuffer, "fg %d %d %d %d %d %d %d %d\r\n", motor_data[0]->speed_rpm, motor_data[1]->speed_rpm, motor_data[2]->speed_rpm, motor_data[3]->speed_rpm, (int)rtU.yaw_target_CH1_1, (int)rtU.yaw_target_CH1_2, (int)rtU.yaw_target_CH1_3, (int)rtU.yaw_target_CH1_4);
    HAL_UART_Transmit_DMA(&huart2, (uint8_t *)TransmitBuffer, buff_len);

    osDelay(1);
  }
  /* USER CODE END StartUpperFeedbackTask */
}

void StartSBUSTask(void *argument)
{
  /* USER CODE BEGIN StartSBUSTask */
  /* Infinite loop */
  for (;;)
  {
    if (SBUS_CH.CH7 > 1200)
    {
      SBUS_SWA_State = SWITCH_DOWN;
    }
    else if (SBUS_CH.CH7 < 800)
    {
      SBUS_SWA_State = SWITCH_UP;
    }

    if (SBUS_CH.CH8 > 1200)
    {
      SBUS_SWB_State = SWITCH_DOWN;
    }
    else if (SBUS_CH.CH8 < 800)
    {
      SBUS_SWB_State = SWITCH_UP;
    }

    if (SBUS_CH.CH9 > 1200)
    {
      SBUS_SWC_State = SWITCH_DOWN;
    }
    else if (SBUS_CH.CH9 > 800 && SBUS_CH.CH9 < 1200)
    {
      SBUS_SWC_State = SWITCH_MID;
    }
    else if (SBUS_CH.CH9 < 800)
    {
      SBUS_SWC_State = SWITCH_UP;
    }

    if (SBUS_CH.CH10 > 1200)
    {
      SBUS_SWD_State = SWITCH_DOWN;
    }
    else if (SBUS_CH.CH10 < 800)
    {
      SBUS_SWD_State = SWITCH_UP;
    }

    if (SBUS_SWD_Last_State != SWITCH_UP && SBUS_SWD_State == SWITCH_UP)
    {
      // Auto initialize the clamp
      if (!LOGIC_FLAG)
      {
        LOGIC_FLAG = on;
        next_state = state_init;
      }
    }
    else if (SBUS_SWD_Last_State != SWITCH_DOWN && SBUS_SWD_State == SWITCH_DOWN)
    {
      // Auto close the clamp
      if (!LOGIC_FLAG)
      {
        LOGIC_FLAG = on;
        next_state = state_close;
      }
    }

    if (SBUS_SWD_State == SWITCH_UP && SBUS_SWB_State == SWITCH_DOWN)
    {

      if (SBUS_SWC_State == SWITCH_UP && SBUS_SWC_Last_State != SWITCH_UP)
      {
        if (!LOGIC_FLAG)
        {
          LOGIC_FLAG = on;
          next_state = state_claw_catch;
        }
      }
      else if ((SBUS_SWC_State == SWITCH_MID && SBUS_SWC_Last_State != SWITCH_MID) || (SBUS_SWC_State == SWITCH_DOWN && SBUS_SWC_Last_State != SWITCH_DOWN))
      {
        if (!LOGIC_FLAG)
        {
          LOGIC_FLAG = on;
          next_state = state_claw_place;
        }
      }
    }

    SBUS_SWA_Last_State = SBUS_SWA_State;
    SBUS_SWB_Last_State = SBUS_SWB_State;
    SBUS_SWC_Last_State = SBUS_SWC_State;
    SBUS_SWD_Last_State = SBUS_SWD_State;

    osDelay(1);
  }
}
/* USER CODE END StartSBUSTask */
